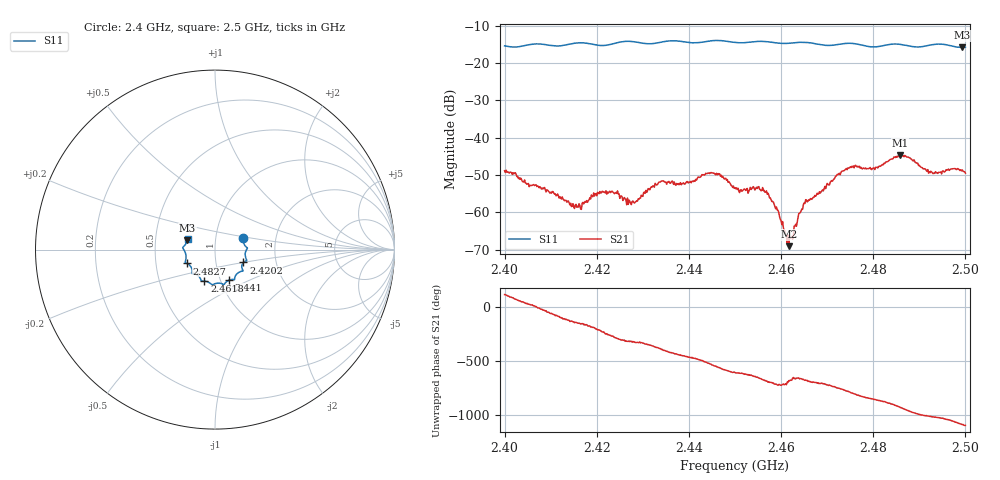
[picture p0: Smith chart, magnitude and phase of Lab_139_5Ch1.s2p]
# Hz S RI R 50
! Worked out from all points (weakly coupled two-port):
!   601 points, 2.4 GHz to 2.5 GHz, reference 50 ohm
!   highest |S21| = -44.71 dB at 2.4858 GHz (marker M1); lowest = -69.0 dB at 2.4617 GHz (marker M2)
!   lowest |S11| = -15.8 dB at 2.4993 GHz (marker M3), VSWR 1.39, Z = 36.5 + j3.84 ohm
!   |S11| at or under -10 dB: start of sweep to end of sweep
!   S12 and S22 are empty: the file has one direction only
!   S11 on the Smith chart (normalised r, x): 2.4 GHz: 1.36, +0.18; 2.4202 GHz: 1.36, -0.20; 2.441 GHz: 1.10, -0.39; 2.4618 GHz: 0.84, -0.30; 2.4827 GHz: 0.72, -0.12; 2.5 GHz: 0.73, +0.09
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2.4e9  0.1585 0.063  -0.0016 0.00324  0 0  0 0
2.416667e9  0.1772 -0.061  -0.000987 -0.000481  0 0  0 0
2.420167e9  0.1585 -0.0713  -0.00158 0.000973  0 0  0 0
2.424e9  0.1511 -0.1065  0.00044 0.00176  0 0  0 0
2.427833e9  0.1533 -0.1196  0.00107 0.000933  0 0  0 0
2.433333e9  0.1113 -0.1509  0.00233 -0.000808  0 0  0 0
2.441e9  0.0786 -0.1697  -0.00103 -0.00238  0 0  0 0
2.445167e9  0.0517 -0.1935  -0.00338 -0.000133  0 0  0 0
2.45e9  0.0286 -0.1873  -0.000819 0.00198  0 0  0 0
2.456833e9  -0.0194 -0.1933  0.00162 0.00108  0 0  0 0
2.459e9  -0.0325 -0.1838  0.00118 6.8e-05  0 0  0 0
2.461667e9  -0.0576 -0.1754  0.000278 0.000218  0 0  0 0
2.461833e9  -0.0591 -0.1754  0.000378 0.00028  0 0  0 0
2.465e9  -0.0762 -0.1743  0.000965 0.00093  0 0  0 0
2.466667e9  -0.0787 -0.1684  0.00136 0.000631  0 0  0 0
2.4745e9  -0.1267 -0.1342  0.00195 -0.00343  0 0  0 0
2.482667e9  -0.1561 -0.0772  -0.00442 -0.00158  0 0  0 0
2.483333e9  -0.1605 -0.0753  -0.00484 -0.000706  0 0  0 0
2.485833e9  -0.1655 -0.0678  -0.00502 0.00292  0 0  0 0
2.4925e9  -0.1755 0.00176  0.0014 0.00328  0 0  0 0
2.499333e9  -0.1541 0.0513  0.00366 -0.000582  0 0  0 0
2.5e9  -0.1521 0.0606  0.00321 -0.000987  0 0  0 0
